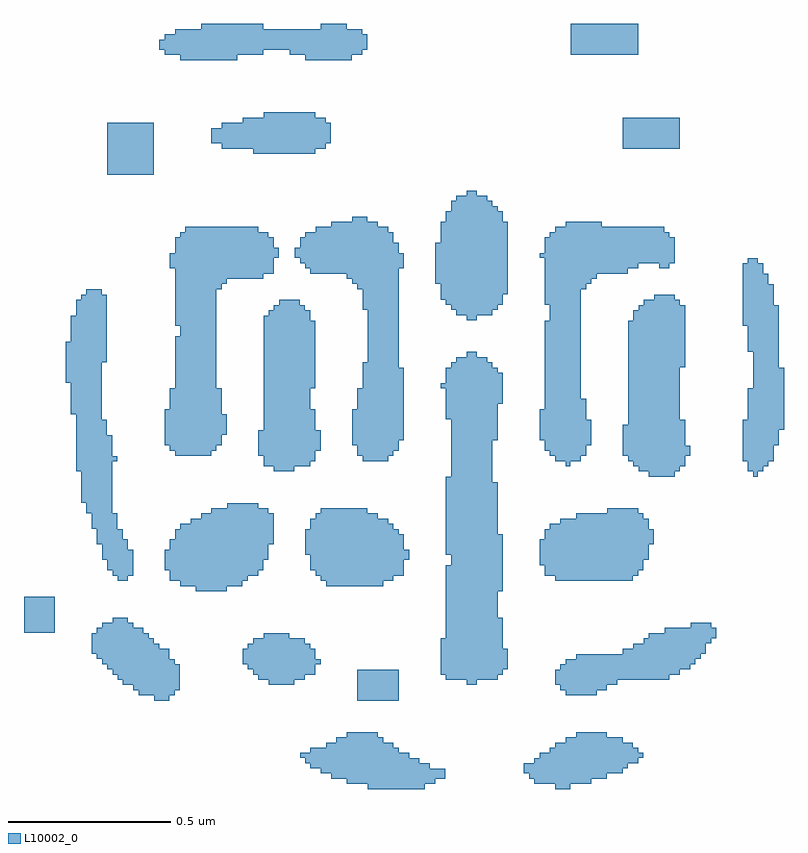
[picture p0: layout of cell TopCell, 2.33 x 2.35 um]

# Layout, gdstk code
import gdstk
lib = gdstk.Library(unit=1e-6, precision=1e-09)
def R(c, l, rs):  # rectangles x0, y0, x1, y1
    for r in rs: c.add(gdstk.rectangle(r[:2], r[2:], *l))
L10002_0 = (10002, 0)

topcell = lib.new_cell('TopCell')
R(topcell, L10002_0, [(1.68,0.72,1.711,0.895), (1.711,0.72,1.727,0.879), (1.727,0.72,1.759,0.863), (1.759,0.72,1.775,0.847), (1.775,0.72,1.807,0.831), (1.807,0.72,1.839,0.815), (1.839,0.72,1.855,0.799), (2.256,0.72,2.303,0.863), (1.616,0.736,1.68,0.895), (1.855,0.736,1.871,0.799), (1.871,0.736,1.887,0.783), (2.192,0.736,2.256,0.815), (2.303,0.736,2.367,0.879), (1.568,0.752,1.616,0.863), (1.887,0.752,1.919,0.783), (2.176,0.752,2.192,0.799), (2.367,0.752,2.415,0.895), (1.536,0.768,1.568,0.847), (2.16,0.768,2.176,0.799), (2.415,0.768,2.463,0.879), (1.504,0.784,1.536,0.847), (2.463,0.784,2.479,0.863), (1.488,0.8,1.504,0.831), (2.479,0.8,2.495,0.863), (2.495,0.8,2.511,0.847), (2.208,0.815,2.256,0.831), (1.472,0.816,1.488,0.831), (2.511,0.816,2.527,0.831), (2.24,0.831,2.256,0.847), (1.552,0.847,1.568,0.863), (1.584,0.863,1.616,0.879), (2.288,0.863,2.303,0.879), (2.32,0.879,2.367,0.895), (1.024,0.992,1.039,1.167), (1.039,0.992,1.071,1.151), (1.648,0.992,1.775,1.087), (0.976,1.008,0.991,1.215), (0.991,1.008,1.007,1.199), (1.007,1.008,1.023,1.183), (1.023,1.008,1.024,1.167), (1.071,1.008,1.087,1.119), (2.288,1.008,2.383,1.119), (0.96,1.024,0.976,1.215), (1.087,1.024,1.103,1.103), (2.272,1.024,2.288,1.103), (2.383,1.024,2.415,1.135), (0.928,1.04,0.943,1.247), (0.943,1.04,0.959,1.231), (0.959,1.04,0.96,1.215), (1.376,1.04,1.439,1.199), (1.439,1.04,1.455,1.183), (1.984,1.04,2.015,2.063), (2.256,1.04,2.272,1.087), (2.415,1.04,2.447,1.135), (0.912,1.056,0.928,1.247), (1.344,1.056,1.376,1.183), (1.455,1.056,1.487,1.183), (1.92,1.056,1.984,1.407), (2.015,1.056,2.047,2.047), (2.047,1.056,2.063,2.031), (2.063,1.056,2.079,1.663), (2.447,1.056,2.607,1.135), (0.896,1.072,0.912,1.247), (1.328,1.072,1.344,1.183), (1.487,1.072,1.503,1.167), (1.503,1.072,1.519,1.151), (1.904,1.072,1.92,1.183), (2.079,1.072,2.095,1.247), (2.607,1.072,2.639,1.215), (0.88,1.088,0.896,1.231), (1.312,1.088,1.328,1.167), (2.095,1.088,2.111,1.151), (2.639,1.088,2.671,1.215), (0.864,1.104,0.88,1.231), (1.296,1.104,1.312,1.151), (1.519,1.104,1.535,1.119), (2.671,1.104,2.687,1.215), (2.32,1.119,2.383,1.135), (0.848,1.12,0.864,1.215), (2.687,1.12,2.703,1.231), (2.464,1.135,2.607,1.151), (0.832,1.136,0.848,1.199), (2.703,1.136,2.719,1.231), (2.496,1.151,2.607,1.167), (2.528,1.167,2.607,1.183), (2.719,1.168,2.735,1.231), (1.36,1.183,1.376,1.199), (2.544,1.183,2.607,1.199), (2.735,1.184,2.751,1.215), (2.592,1.199,2.607,1.215), (0.624,1.2,0.719,1.311), (2.672,1.215,2.687,1.231), (1.152,1.328,1.247,1.551), (2.079,1.328,2.095,1.503), (1.104,1.344,1.152,1.535), (1.247,1.344,1.295,1.583), (1.552,1.344,1.679,1.583), (1.679,1.344,1.711,1.567), (1.711,1.344,1.727,1.551), (0.912,1.36,0.927,1.519), (0.927,1.36,0.943,1.487), (1.072,1.36,1.104,1.487), (1.295,1.36,1.311,1.599), (1.536,1.36,1.552,1.583), (1.727,1.36,1.743,1.551), (1.743,1.36,1.759,1.535), (2.256,1.36,2.495,1.535), (0.896,1.376,0.911,1.567), (0.911,1.376,0.912,1.519), (0.943,1.376,0.959,1.455), (1.311,1.376,1.343,1.599), (1.52,1.376,1.536,1.567), (1.759,1.376,1.775,1.519), (1.775,1.376,1.791,1.503), (2.224,1.376,2.256,1.519), (2.495,1.376,2.511,1.583), (0.88,1.392,0.895,1.807), (0.895,1.392,0.896,1.567), (1.056,1.392,1.072,1.455), (1.343,1.392,1.359,1.583), (1.504,1.392,1.52,1.551), (2.511,1.392,2.527,1.567), (1.936,1.407,1.984,2.031), (2.208,1.408,2.224,1.487), (0.864,1.424,0.879,1.855), (0.879,1.424,0.88,1.807), (1.359,1.424,1.375,1.583), (1.791,1.424,1.807,1.455), (2.527,1.424,2.543,1.551), (1.488,1.44,1.504,1.519), (1.92,1.44,1.936,1.679), (0.848,1.472,0.863,2.255), (0.863,1.472,0.864,1.855), (1.375,1.472,1.391,1.567), (2.543,1.472,2.559,1.519), (1.088,1.487,1.104,1.519), (2.24,1.519,2.256,1.535), (0.832,1.52,0.848,2.255), (1.136,1.535,1.152,1.551), (2.272,1.535,2.495,1.551), (1.168,1.551,1.247,1.567), (2.32,1.551,2.495,1.567), (1.2,1.567,1.247,1.583), (2.416,1.567,2.495,1.583), (0.816,1.568,0.832,2.255), (1.248,1.583,1.295,1.599), (0.8,1.6,0.816,2.239), (2.544,1.68,2.623,2.223), (2.864,1.68,2.879,2.351), (0.784,1.696,0.8,2.223), (1.392,1.696,1.455,2.207), (2.512,1.696,2.544,2.207), (2.623,1.696,2.639,2.223), (2.848,1.696,2.864,1.951), (2.879,1.696,2.895,2.335), (1.36,1.712,1.392,2.175), (1.455,1.712,1.471,2.223), (1.471,1.712,1.487,2.207), (1.487,1.712,1.503,2.191), (2.288,1.712,2.303,2.463), (2.496,1.712,2.512,2.191), (2.639,1.712,2.655,1.855), (2.895,1.712,2.911,2.303), (0.895,1.728,0.911,1.743), (1.503,1.728,1.519,1.887), (1.664,1.728,1.743,2.031), (2.256,1.728,2.288,2.447), (2.303,1.728,2.335,2.463), (2.48,1.728,2.496,2.159), (2.832,1.728,2.848,1.855), (2.911,1.728,2.927,2.271), (1.088,1.744,1.199,2.111), (1.344,1.744,1.36,1.823), (1.648,1.744,1.664,1.951), (1.743,1.744,1.759,2.431), (2.24,1.744,2.256,2.431), (2.335,1.744,2.351,1.919), (2.464,1.744,2.48,1.839), (2.655,1.744,2.671,1.775), (1.072,1.76,1.088,1.951), (1.199,1.76,1.215,2.447), (1.519,1.76,1.535,1.823), (1.759,1.76,1.775,2.399), (2.224,1.76,2.24,2.159), (1.056,1.776,1.072,1.887), (1.215,1.776,1.231,1.951), (1.632,1.776,1.648,1.887), (2.351,1.776,2.367,1.855), (2.927,1.776,2.943,2.207), (1.775,1.792,1.791,2.015), (2.063,1.792,2.079,2.015), (2.208,1.792,2.224,1.887), (1.231,1.808,1.247,1.871), (2.943,1.824,2.959,2.015), (1.92,1.856,1.936,2.015), (0.768,1.872,0.784,2.175), (2.079,1.904,2.095,1.999), (1.503,1.952,1.519,2.159), (1.904,1.952,1.92,1.967), (0.752,1.968,0.768,2.095), (2.639,2.016,2.655,2.207), (1.68,2.031,1.711,2.463), (1.711,2.031,1.743,2.447), (1.952,2.031,1.984,2.047), (0.863,2.032,0.879,2.239), (2.848,2.064,2.864,2.351), (1.104,2.111,1.199,2.431), (1.088,2.144,1.104,2.415), (2.832,2.144,2.848,2.335), (1.984,2.16,2.015,2.559), (1.376,2.175,1.392,2.191), (1.952,2.176,1.984,2.543), (2.015,2.176,2.047,2.543), (2.047,2.176,2.063,2.527), (1.664,2.192,1.679,2.479), (1.679,2.192,1.68,2.463), (1.936,2.192,1.952,2.527), (2.063,2.192,2.079,2.511), (1.408,2.207,1.455,2.223), (2.528,2.207,2.544,2.223), (1.92,2.208,1.936,2.495), (2.079,2.208,2.095,2.495), (2.224,2.208,2.24,2.415), (2.56,2.223,2.623,2.239), (1.904,2.224,1.92,2.463), (2.095,2.24,2.111,2.463), (1.215,2.256,1.231,2.447), (1.648,2.256,1.664,2.479), (2.335,2.256,2.351,2.463), (1.231,2.272,1.247,2.447), (1.632,2.272,1.648,2.479), (1.888,2.272,1.904,2.399), (2.351,2.272,2.367,2.463), (1.247,2.288,1.343,2.447), (1.343,2.288,1.359,2.431), (1.616,2.288,1.632,2.463), (2.367,2.288,2.383,2.463), (1.359,2.304,1.375,2.431), (1.375,2.304,1.391,2.415), (1.504,2.304,1.616,2.431), (2.383,2.304,2.399,2.463), (2.399,2.304,2.479,2.447), (1.072,2.32,1.088,2.367), (1.488,2.32,1.504,2.431), (1.775,2.32,1.791,2.367), (2.479,2.32,2.511,2.447), (2.576,2.32,2.591,2.447), (2.591,2.32,2.607,2.431), (1.472,2.336,1.488,2.415), (2.511,2.336,2.576,2.447), (2.607,2.336,2.623,2.415), (1.391,2.352,1.407,2.383), (1.456,2.352,1.472,2.383), (2.208,2.352,2.224,2.367), (1.12,2.431,1.199,2.447), (1.52,2.431,1.616,2.447), (1.568,2.447,1.616,2.463), (0.88,2.608,1.023,2.767), (1.328,2.672,1.519,2.783), (1.232,2.688,1.328,2.767), (1.519,2.688,1.551,2.783), (2.464,2.688,2.639,2.783), (1.2,2.704,1.232,2.751), (1.551,2.704,1.567,2.767), (1.296,2.767,1.328,2.783), (1.36,2.783,1.519,2.799), (1.104,2.96,1.279,3.055), (1.488,2.96,1.631,3.055), (1.056,2.976,1.104,3.039), (1.279,2.976,1.359,3.071), (1.44,2.976,1.488,3.055), (1.631,2.976,1.663,3.055), (2.304,2.976,2.511,3.071), (1.04,2.992,1.056,3.023), (1.359,2.992,1.44,3.055), (1.663,2.992,1.679,3.039), (1.088,3.039,1.104,3.055), (1.168,3.055,1.279,3.071), (1.536,3.055,1.615,3.071)])

lib.write_gds('TopCell.gds')
